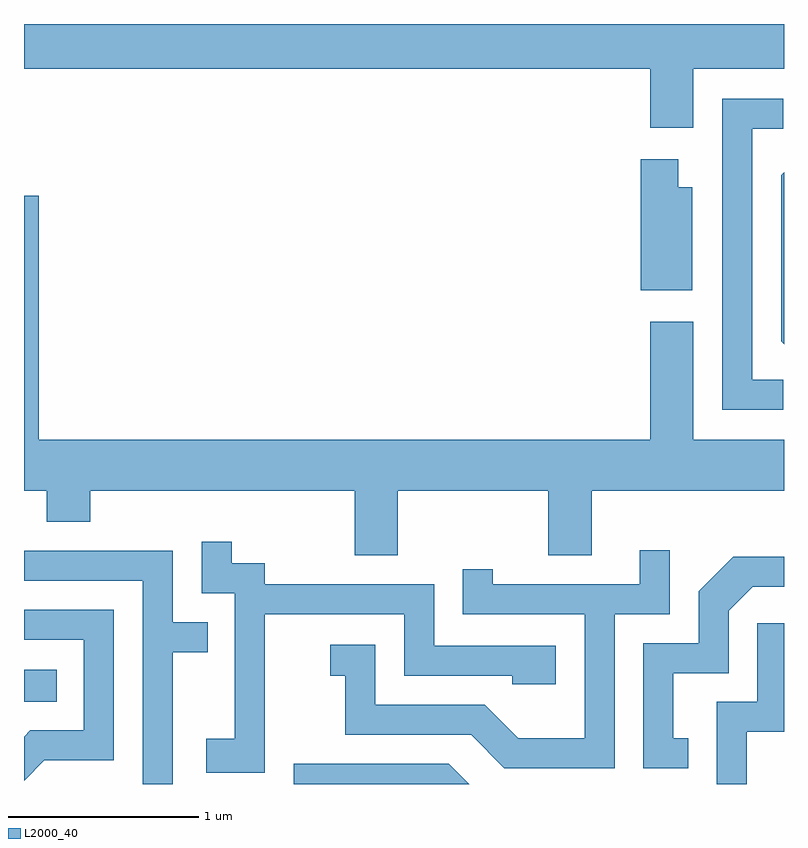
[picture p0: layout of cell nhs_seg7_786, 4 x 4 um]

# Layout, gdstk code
import gdstk
lib = gdstk.Library(unit=1e-6, precision=1e-09)
def R(c, l, rs):  # rectangles x0, y0, x1, y1
    for r in rs: c.add(gdstk.rectangle(r[:2], r[2:], *l))
def P(c, l, *ps):  # polygons
    for p in ps: c.add(gdstk.Polygon(p, *l))
L2000_40 = (2000, 40)

nhs_seg7_786 = lib.new_cell('nhs_seg7_786')
R(nhs_seg7_786, L2000_40, [(207.611,1788.686,207.783,1788.854)])
P(nhs_seg7_786, L2000_40, [(207.611,1792.016),(210.906,1792.016),(210.906,1791.706),(211.134,1791.706),(211.134,1792.016),(211.611,1792.016),(211.611,1792.252),(207.611,1792.252)],
  [(211.608,1790.379),(211.444,1790.379),(211.444,1791.701),(211.608,1791.701),(211.608,1791.859),(211.286,1791.859),(211.286,1790.221),(211.608,1790.221)],
  [(211.129,1791.394),(211.054,1791.394),(211.054,1791.539),(210.856,1791.539),(210.856,1790.851),(211.129,1790.851)],
  [(211.611,1791.472),(211.596,1791.457),(211.596,1790.582),(211.611,1790.567)],
  [(209.579,1789.796),(210.371,1789.796),(210.371,1789.456),(210.599,1789.456),(210.599,1789.796),(211.611,1789.796),(211.611,1790.064),(211.134,1790.064),(211.134,1790.684),(210.906,1790.684),(210.906,1790.064),(207.689,1790.064),(207.689,1791.349),(207.611,1791.349),(207.611,1789.796),(207.731,1789.796),(207.731,1789.631),(207.959,1789.631),(207.959,1789.796),(209.351,1789.796),(209.351,1789.456),(209.579,1789.456)],
  [(208.879,1789.146),(209.611,1789.146),(209.611,1788.821),(210.181,1788.821),(210.181,1788.776),(210.409,1788.776),(210.409,1788.979),(209.769,1788.979),(209.769,1789.304),(208.879,1789.304),(208.879,1789.414),(208.704,1789.414),(208.704,1789.528),(208.546,1789.528),(208.546,1789.256),(208.721,1789.256),(208.721,1788.489),(208.571,1788.489),(208.571,1788.311),(208.879,1788.311)],
  [(210.719,1789.146),(211.009,1789.146),(211.009,1789.483),(210.851,1789.483),(210.851,1789.304),(210.079,1789.304),(210.079,1789.383),(209.921,1789.383),(209.921,1789.146),(210.561,1789.146),(210.561,1788.494),(210.212,1788.494),(210.037,1788.669),(209.459,1788.669),(209.459,1788.984),(209.223,1788.984),(209.223,1788.821),(209.301,1788.821),(209.301,1788.511),(209.964,1788.511),(210.139,1788.336),(210.719,1788.336)],
  [(208.394,1788.946),(208.578,1788.946),(208.578,1789.104),(208.394,1789.104),(208.394,1789.479),(207.611,1789.479),(207.611,1789.321),(208.236,1789.321),(208.236,1788.252),(208.394,1788.252)],
  [(211.108,1788.494),(211.029,1788.494),(211.029,1788.836),(211.319,1788.836),(211.319,1789.164),(211.447,1789.291),(211.611,1789.291),(211.611,1789.449),(211.344,1789.449),(211.161,1789.267),(211.161,1788.994),(210.871,1788.994),(210.871,1788.336),(211.108,1788.336)],
  [(207.717,1788.376),(208.084,1788.376),(208.084,1789.169),(207.611,1789.169),(207.611,1789.011),(207.926,1789.011),(207.926,1788.534),(207.644,1788.534),(207.611,1788.501),(207.611,1788.27)],
  [(211.414,1788.526),(211.611,1788.526),(211.611,1789.099),(211.471,1789.099),(211.471,1788.684),(211.256,1788.684),(211.256,1788.252),(211.414,1788.252)],
  [(209.847,1788.359),(209.031,1788.359),(209.031,1788.252),(209.954,1788.252)])

lib.write_gds('nhs_seg7_786.gds')
